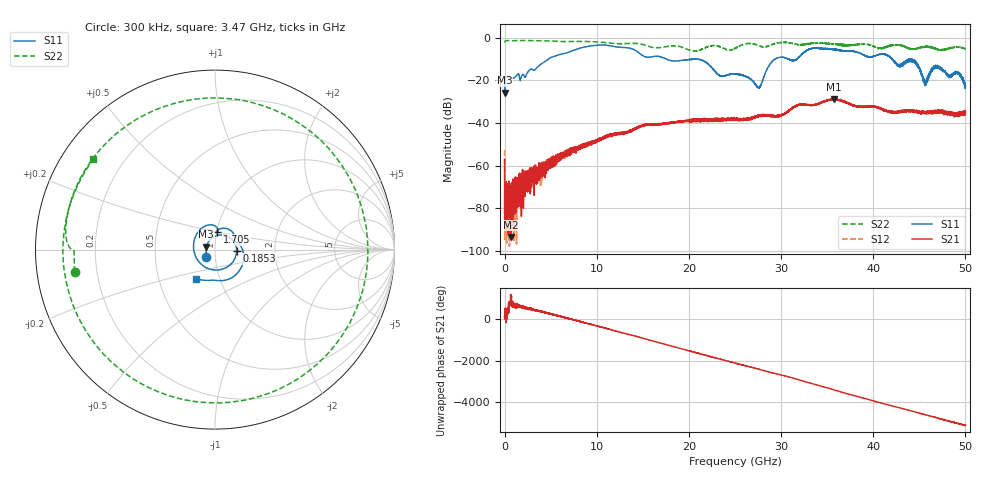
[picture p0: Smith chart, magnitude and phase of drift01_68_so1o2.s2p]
!Created with skrf (http://scikit-rf.org).
# Hz S RI R 50.0
!freq ReS11 ImS11 ReS21 ImS21 ReS12 ImS12 ReS22 ImS22
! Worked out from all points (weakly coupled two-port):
!   10001 points, 300 kHz to 50 GHz, reference 50 ohm
!   highest |S21| = -28.77 dB at 35.74 GHz (marker M1); lowest = -93.4 dB at 660.3 MHz (marker M2)
!   lowest |S11| = -25.8 dB at 5.3 MHz (marker M3), VSWR 1.11, Z = 45.3 + j1.42 ohm
!   |S11| at or under -10 dB: start of sweep to 4.765 GHz; 17.52 GHz to 29.39 GHz (11.87 GHz wide, 50.6 % of centre); 44.17 GHz to end of sweep (the widest 3 of 11)
!   |S22| runs from -6.4 to -1.4 dB; largest |S21 - S12| = 0.0039
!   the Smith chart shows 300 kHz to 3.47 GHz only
!   S11 on the Smith chart (normalised r, x): 300 kHz: 0.90, -0.08; 185.3 MHz: 1.27, -0.02; 1.705 GHz: 1.00, +0.20; 3.47 GHz: 0.77, -0.26
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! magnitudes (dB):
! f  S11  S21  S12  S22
! 300 kHz  -23.9  -57.1  -52.8  -2.0
! 5.3 MHz  -25.8  -74.7  -77.5  -2.1
! 185.3 MHz  -18.4  -67.5  -79.5  -1.4
! 660.3 MHz  -18.9  -93.4  -75.6  -1.5
! 1.705 GHz  -20.0  -71.7  -66.4  -1.4
! 3.47 GHz  -14.3  -65.4  -62.9  -1.5
! 8.335 GHz  -4.8  -51.5  -51.4  -1.8
! 16.67 GHz  -8.8  -40.8  -40.9  -4.8
! 21.2 GHz  -10.3  -38.4  -38.7  -5.8
! 23.38 GHz  -18.1  -38.7  -38.2  -4.3
! 25 GHz  -17.0  -38.4  -38.3  -5.0
! 27.59 GHz  -23.4  -36.9  -37.0  -3.8
! 29.28 GHz  -10.3  -36.8  -36.9  -2.9
! 31.47 GHz  -10.7  -32.2  -32.3  -2.9
! 33.34 GHz  -5.1  -31.6  -31.7  -2.7
! 35.74 GHz  -5.7  -28.8  -29.0  -3.1
! 41.67 GHz  -8.7  -34.2  -34.8  -3.9
! 42.79 GHz  -12.9  -34.6  -34.8  -3.6
! 44.51 GHz  -11.2  -34.9  -34.7  -5.3
! 45.63 GHz  -20.9  -35.2  -34.8  -4.3
! 46.95 GHz  -13.3  -34.7  -34.6  -5.4
! 50 GHz  -22.2  -35.0  -34.3  -5.2
